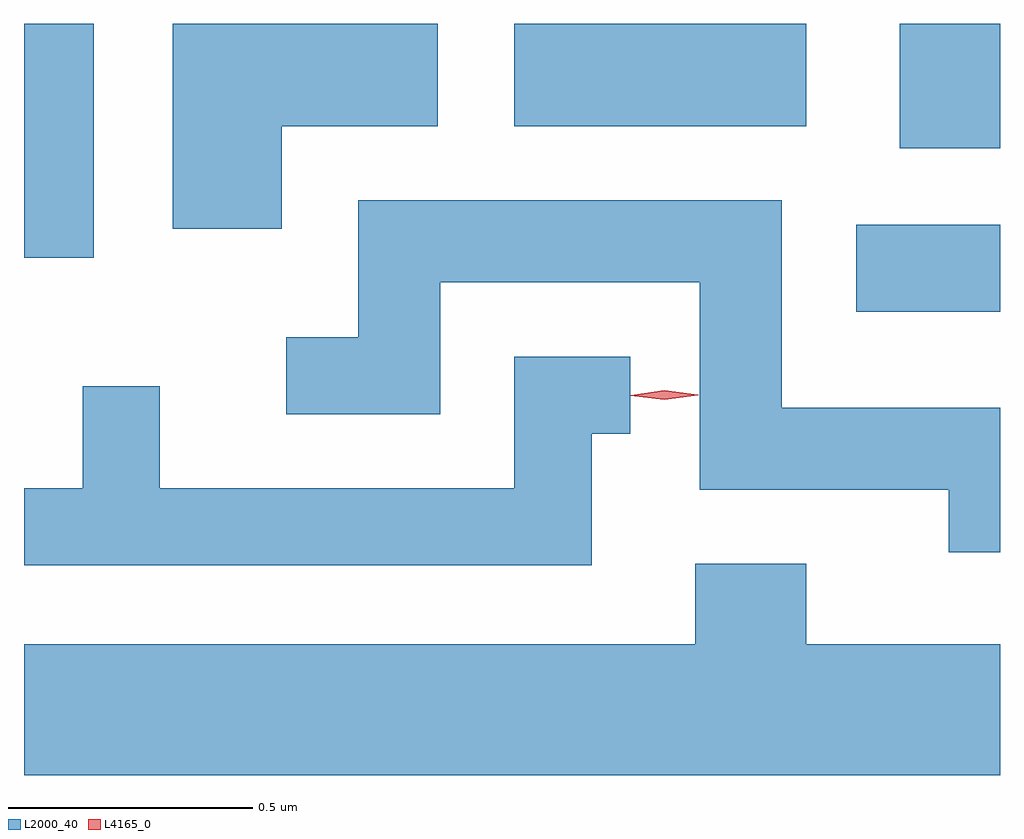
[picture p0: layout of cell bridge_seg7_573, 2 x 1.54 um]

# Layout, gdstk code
import gdstk
lib = gdstk.Library(unit=1e-6, precision=1e-09)
def R(c, l, rs):  # rectangles x0, y0, x1, y1
    for r in rs: c.add(gdstk.rectangle(r[:2], r[2:], *l))
def P(c, l, *ps):  # polygons
    for p in ps: c.add(gdstk.Polygon(p, *l))
L2000_40 = (2000, 40)
L4165_0 = (4165, 0)

bridge_seg7_573 = lib.new_cell('bridge_seg7_573')
R(bridge_seg7_573, L2000_40, [(967.851,1772.986,968.146,1773.164), (966.146,1773.096,966.289,1773.576), (967.941,1773.321,968.146,1773.576), (967.151,1773.366,967.749,1773.576)])
P(bridge_seg7_573, L2000_40, [(966.674,1773.366),(966.994,1773.366),(966.994,1773.576),(966.451,1773.576),(966.451,1773.156),(966.674,1773.156)],
  [(968.146,1772.789),(967.699,1772.789),(967.699,1773.214),(966.831,1773.214),(966.831,1772.934),(966.683,1772.934),(966.683,1772.776),(966.999,1772.776),(966.999,1773.046),(967.531,1773.046),(967.531,1772.621),(968.041,1772.621),(968.041,1772.493),(968.146,1772.493)],
  [(967.309,1772.736),(967.388,1772.736),(967.388,1772.894),(967.151,1772.894),(967.151,1772.624),(966.424,1772.624),(966.424,1772.833),(966.266,1772.833),(966.266,1772.624),(966.146,1772.624),(966.146,1772.466),(967.309,1772.466)],
  [(968.146,1772.304),(967.749,1772.304),(967.749,1772.469),(967.521,1772.469),(967.521,1772.304),(966.146,1772.304),(966.146,1772.036),(968.146,1772.036)])
P(bridge_seg7_573, L4165_0, [(967.458,1772.805),(967.389,1772.814),(967.389,1772.815),(967.389,1772.815),(967.458,1772.825),(967.528,1772.816),(967.528,1772.816),(967.528,1772.815)])

lib.write_gds('bridge_seg7_573.gds')
